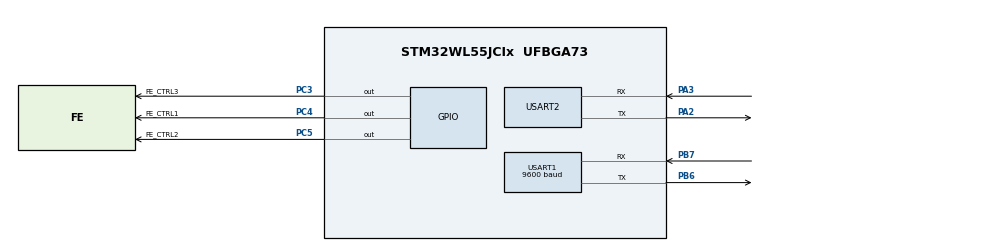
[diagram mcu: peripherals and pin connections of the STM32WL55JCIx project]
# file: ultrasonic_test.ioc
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Mcu.Family=STM32WL
Mcu.Name=STM32WL55JCIx
Mcu.Package=UFBGA73
NVIC.PriorityGroup=NVIC_PRIORITYGROUP_4
PA2.Mode=Asynchronous
PA2.Signal=USART2_TX
PA3.Mode=Asynchronous
PA3.Signal=USART2_RX
PB6.Mode=Asynchronous
PB6.Signal=USART1_TX
PB7.Mode=Asynchronous
PB7.Signal=USART1_RX
PC14-OSC32_IN.GPIO_Label=RCC_OSC32_IN
PC14-OSC32_IN.Signal=RCC_OSC32_IN
PC15-OSC32_OUT.GPIO_Label=RCC_OSC32_OUT
PC15-OSC32_OUT.Signal=RCC_OSC32_OUT
PC3.GPIO_Label=FE_CTRL3
PC3.GPIO_Speed=GPIO_SPEED_FREQ_VERY_HIGH
PC3.Signal=GPIO_Output
PC4.GPIO_Label=FE_CTRL1
PC4.GPIO_Speed=GPIO_SPEED_FREQ_VERY_HIGH
PC4.Signal=GPIO_Output
PC5.GPIO_Label=FE_CTRL2
PC5.GPIO_Speed=GPIO_SPEED_FREQ_VERY_HIGH
PC5.Signal=GPIO_Output
ProjectManager.HeapSize=0x200
ProjectManager.StackSize=0x400
ProjectManager.TargetToolchain=STM32CubeIDE
RCC.HSE_VALUE=32000000
RCC.HSI_VALUE=16000000
RCC.LSE_VALUE=32768
RCC.VCOOutputFreq_Value=32000000
USART1.BaudRate=9600
USART1.VirtualMode-Asynchronous=VM_ASYNC
USART2.VirtualMode-Asynchronous=VM_ASYNC
VP_NUCLEO-WL55JC1_VS_BSP_COMMON.Mode=COMMON
VP_SUBGHZ_VS_SUBGHZ.Mode=SUBGHZ_Activate
board=NUCLEO-WL55JC1

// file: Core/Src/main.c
/* USER CODE BEGIN Header */
/**
  ******************************************************************************
  * @file           : main.c
  * @brief          : Main program body
  ******************************************************************************
  * @attention
  *
  * Copyright (c) 2026 STMicroelectronics.
  * All rights reserved.
  *
  * This software is licensed under terms that can be found in the LICENSE file
  * in the root directory of this software component.
  * If no LICENSE file comes with this software, it is provided AS-IS.
  *
  ******************************************************************************
  */
/* USER CODE END Header */
#include "main.h"

/* USER CODE BEGIN Includes */
#include <stdio.h>
/* USER CODE END Includes */

SUBGHZ_HandleTypeDef hsubghz;

UART_HandleTypeDef huart1;
UART_HandleTypeDef huart2;

void SystemClock_Config(void);
static void MX_GPIO_Init(void);
static void MX_SUBGHZ_Init(void);
static void MX_USART1_UART_Init(void);
static void MX_USART2_UART_Init(void);

/* USER CODE BEGIN 0 */

void delay_us(uint32_t us)
{
  uint32_t start = DWT->CYCCNT;
  uint32_t ticks = us * (SystemCoreClock / 1000000);
  while ((DWT->CYCCNT - start) < ticks);
}

uint32_t micros(void)
{
  return DWT->CYCCNT / (SystemCoreClock / 1000000);
}
/* USER CODE END 0 */

int main(void)
{

  /* MCU Configuration--------------------------------------------------------*/

  /* Reset of all peripherals, Initializes the Flash interface and the Systick. */
  HAL_Init();

  /* Configure the system clock */
  SystemClock_Config();

  /* Initialize all configured peripherals */
  MX_GPIO_Init();
  MX_SUBGHZ_Init();
  MX_USART1_UART_Init();
  MX_USART2_UART_Init();
  /* USER CODE BEGIN 2 */
  CoreDebug->DEMCR |= CoreDebug_DEMCR_TRCENA_Msk;
  DWT->CYCCNT = 0;
  DWT->CTRL |= DWT_CTRL_CYCCNTENA_Msk;
  /* USER CODE END 2 */

  /* Infinite loop */
  /* USER CODE BEGIN WHILE */
  while (1)
  {
      uint8_t header;

      if (HAL_UART_Receive(&huart1, &header, 1, 100) == HAL_OK)
      {
          printf("RX header: 0x%02X\r\n", header);

          if (header == 0xFF)
          {
              uint8_t buf[3];

              if (HAL_UART_Receive(&huart1, buf, 3, 100) == HAL_OK)
              {
                  uint8_t sum = (uint8_t)(0xFF + buf[0] + buf[1]);

                  printf("Packet: FF %02X %02X %02X\r\n", buf[0], buf[1], buf[2]);

                  if (sum == buf[2])
                  {
                      uint16_t distance = (buf[0] << 8) | buf[1];

                      printf("Distance: %u mm\r\n", distance);
                  }
                  else
                  {
                      printf("Checksum Error\r\n");
                  }
              }
          }
      }
      else
      {
          printf("No sensor data\r\n");
          HAL_Delay(300);
      }

      HAL_Delay(50);
  }
    /* USER CODE END WHILE */

}

void SystemClock_Config(void)
{
  RCC_OscInitTypeDef RCC_OscInitStruct = {0};
  RCC_ClkInitTypeDef RCC_ClkInitStruct = {0};

  /** Configure the main internal regulator output voltage
  */
  __HAL_PWR_VOLTAGESCALING_CONFIG(PWR_REGULATOR_VOLTAGE_SCALE2);

  /** Initializes the CPU, AHB and APB buses clocks
  */
  RCC_OscInitStruct.OscillatorType = RCC_OSCILLATORTYPE_MSI;
  RCC_OscInitStruct.MSIState = RCC_MSI_ON;
  RCC_OscInitStruct.MSICalibrationValue = RCC_MSICALIBRATION_DEFAULT;
  RCC_OscInitStruct.MSIClockRange = RCC_MSIRANGE_6;
  RCC_OscInitStruct.PLL.PLLState = RCC_PLL_NONE;
  if (HAL_RCC_OscConfig(&RCC_OscInitStruct) != HAL_OK)
  {
    Error_Handler();
  }

  /** Configure the SYSCLKSource, HCLK, PCLK1 and PCLK2 clocks dividers
  */
  RCC_ClkInitStruct.ClockType = RCC_CLOCKTYPE_HCLK3|RCC_CLOCKTYPE_HCLK
                              |RCC_CLOCKTYPE_SYSCLK|RCC_CLOCKTYPE_PCLK1
                              |RCC_CLOCKTYPE_PCLK2;
  RCC_ClkInitStruct.SYSCLKSource = RCC_SYSCLKSOURCE_MSI;
  RCC_ClkInitStruct.AHBCLKDivider = RCC_SYSCLK_DIV1;
  RCC_ClkInitStruct.APB1CLKDivider = RCC_HCLK_DIV1;
  RCC_ClkInitStruct.APB2CLKDivider = RCC_HCLK_DIV1;
  RCC_ClkInitStruct.AHBCLK3Divider = RCC_SYSCLK_DIV1;

  if (HAL_RCC_ClockConfig(&RCC_ClkInitStruct, FLASH_LATENCY_0) != HAL_OK)
  {
    Error_Handler();
  }
}

static void MX_SUBGHZ_Init(void)
{

  hsubghz.Init.BaudratePrescaler = SUBGHZSPI_BAUDRATEPRESCALER_8;
  if (HAL_SUBGHZ_Init(&hsubghz) != HAL_OK)
  {
    Error_Handler();
  }

}

static void MX_USART1_UART_Init(void)
{

  huart1.Instance = USART1;
  huart1.Init.BaudRate = 9600;
  huart1.Init.WordLength = UART_WORDLENGTH_8B;
  huart1.Init.StopBits = UART_STOPBITS_1;
  huart1.Init.Parity = UART_PARITY_NONE;
  huart1.Init.Mode = UART_MODE_TX_RX;
  huart1.Init.HwFlowCtl = UART_HWCONTROL_NONE;
  huart1.Init.OverSampling = UART_OVERSAMPLING_16;
  huart1.Init.OneBitSampling = UART_ONE_BIT_SAMPLE_DISABLE;
  huart1.Init.ClockPrescaler = UART_PRESCALER_DIV1;
  huart1.AdvancedInit.AdvFeatureInit = UART_ADVFEATURE_NO_INIT;
  if (HAL_UART_Init(&huart1) != HAL_OK)
  {
    Error_Handler();
  }
  if (HAL_UARTEx_SetTxFifoThreshold(&huart1, UART_TXFIFO_THRESHOLD_1_8) != HAL_OK)
  {
    Error_Handler();
  }
  if (HAL_UARTEx_SetRxFifoThreshold(&huart1, UART_RXFIFO_THRESHOLD_1_8) != HAL_OK)
  {
    Error_Handler();
  }
  if (HAL_UARTEx_DisableFifoMode(&huart1) != HAL_OK)
  {
    Error_Handler();
  }

}

static void MX_USART2_UART_Init(void)
{

  huart2.Instance = USART2;
  huart2.Init.BaudRate = 115200;
  huart2.Init.WordLength = UART_WORDLENGTH_8B;
  huart2.Init.StopBits = UART_STOPBITS_1;
  huart2.Init.Parity = UART_PARITY_NONE;
  huart2.Init.Mode = UART_MODE_TX_RX;
  huart2.Init.HwFlowCtl = UART_HWCONTROL_NONE;
  huart2.Init.OverSampling = UART_OVERSAMPLING_16;
  huart2.Init.OneBitSampling = UART_ONE_BIT_SAMPLE_DISABLE;
  huart2.Init.ClockPrescaler = UART_PRESCALER_DIV1;
  huart2.AdvancedInit.AdvFeatureInit = UART_ADVFEATURE_NO_INIT;
  if (HAL_UART_Init(&huart2) != HAL_OK)
  {
    Error_Handler();
  }
  if (HAL_UARTEx_SetTxFifoThreshold(&huart2, UART_TXFIFO_THRESHOLD_1_8) != HAL_OK)
  {
    Error_Handler();
  }
  if (HAL_UARTEx_SetRxFifoThreshold(&huart2, UART_RXFIFO_THRESHOLD_1_8) != HAL_OK)
  {
    Error_Handler();
  }
  if (HAL_UARTEx_DisableFifoMode(&huart2) != HAL_OK)
  {
    Error_Handler();
  }

}

static void MX_GPIO_Init(void)
{
  GPIO_InitTypeDef GPIO_InitStruct = {0};

  /* GPIO Ports Clock Enable */
  __HAL_RCC_GPIOC_CLK_ENABLE();
  __HAL_RCC_GPIOB_CLK_ENABLE();
  __HAL_RCC_GPIOA_CLK_ENABLE();

  /*Configure GPIO pin Output Level */
  HAL_GPIO_WritePin(GPIOC, FE_CTRL3_Pin|FE_CTRL2_Pin|FE_CTRL1_Pin, GPIO_PIN_RESET);

  /*Configure GPIO pins : FE_CTRL3_Pin FE_CTRL2_Pin FE_CTRL1_Pin */
  GPIO_InitStruct.Pin = FE_CTRL3_Pin|FE_CTRL2_Pin|FE_CTRL1_Pin;
  GPIO_InitStruct.Mode = GPIO_MODE_OUTPUT_PP;
  GPIO_InitStruct.Pull = GPIO_NOPULL;
  GPIO_InitStruct.Speed = GPIO_SPEED_FREQ_VERY_HIGH;
  HAL_GPIO_Init(GPIOC, &GPIO_InitStruct);

}

void Error_Handler(void)
{
  __disable_irq();
  while (1)
  {
  }
}
